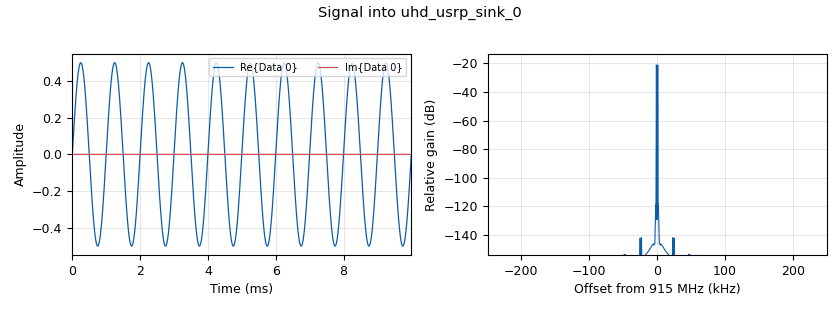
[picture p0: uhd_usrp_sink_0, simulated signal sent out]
options:
  parameters:
    generate_options: qt_gui
    id: fm_tx_usrp1_rfx900
    output_language: python
    title: FM TX USRP1 RFX900
  states: {}

blocks:
- name: samp_rate
  id: variable
  parameters:
    value: 500e3
  states: {}
- name: signal_source_0
  id: analog_sig_source_x
  parameters:
    amp: '1.0'
    freq: '1000'
    offset: '0.0'
    phase: '0.0'
    samp_rate: samp_rate
    waveform: analog.GR_SIN_WAVE
    type: float
  states: {}
- name: multiply_const_0
  id: blocks_multiply_const_vxx
  parameters:
    const: '0.5'
    type: float
  states: {}
- name: float_to_complex_0
  id: blocks_float_to_complex
  parameters: {}
  states: {}
- name: uhd_usrp_sink_0
  id: uhd_usrp_sink
  parameters:
    ant0: TX/RX
    center_freq0: 915e6
    dev_addr: '"type=usrp1,tx_subdev_spec=A:0"'
    dev_args: '""'
    gain0: '20'
    norm_gain0: 'False'
    samp_rate: samp_rate
    sync: sync
    type: fc32
  states: {}

connections:
- [signal_source_0, '0', multiply_const_0, '0']
- [multiply_const_0, '0', float_to_complex_0, '0']
- [float_to_complex_0, '0', uhd_usrp_sink_0, '0']

metadata:
  file_format: 1
  grc_version: 3.11.0.0git-980-g25047da6
